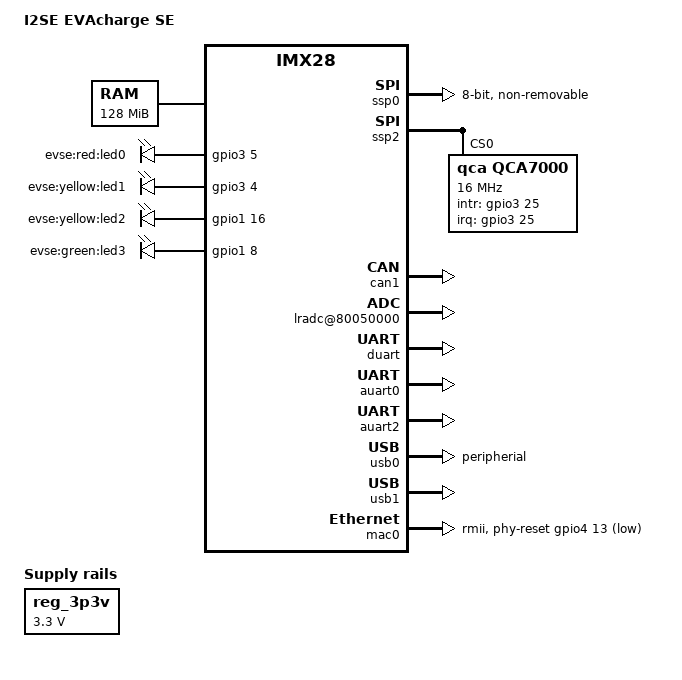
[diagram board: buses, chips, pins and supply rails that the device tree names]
/*
 * Copyright 2013 I2SE GmbH
 *
 * The code contained herein is licensed under the GNU General Public
 * License. You may obtain a copy of the GNU General Public License
 * Version 2 or later at the following locations:
 *
 * http://www.opensource.org/licenses/gpl-license.html
 * http://www.gnu.org/copyleft/gpl.html
 */

/dts-v1/;
#include "imx28.dtsi"

/ {
	model = "I2SE EVAcharge SE";
	compatible = "i2se,imx28-ievachargese", "fsl,imx28";

	aliases {
		spi1 = &ssp2;	// give QCA7000 fixed name
	};

	memory {
		reg = <0x40000000 0x08000000>;
	};

	apb@80000000 {
		apbh@80000000 {
			ssp0: ssp@80010000 {
				compatible = "fsl,imx28-mmc";
				pinctrl-names = "default";
				pinctrl-0 = <&mmc0_8bit_pins_a
					&mmc0_cd_cfg &mmc0_sck_cfg>;
				bus-width = <8>;
				status = "okay";
				non-removable;
			};

			ssp2: ssp@80014000 {
				#address-cells = <1>;
				#size-cells = <0>;
				compatible = "fsl,imx28-spi";
				pinctrl-names = "default";
				pinctrl-0 = <&spi2_pins_a>;
				status = "okay";
				
				qca7000: qca7000@0 {	
					compatible = "qca,qca7000";
  					interrupt-parent = <&gpio3>;
					interrupts = <25 0x1>;
					spi-cpha;
					spi-cpol;
					spi-max-frequency = <16000000>;
					intr-gpios = <&gpio3 25 0>;
  					reg = <0x0>;
   				}; 

			};

			pinctrl@80018000 {
				pinctrl-names = "default";
				pinctrl-0 = <&hog_pins_a>;

				hog_pins_a: hog@0 {
					reg = <0>;
					fsl,pinmux-ids = <
						/* unused ssp3 to shift register */
						0x2183 /* MX28_PAD_SSP3_SCK__GPIO_2_24  */
						0x2193 /* MX28_PAD_SSP3_MOSI__GPIO_2_25 */
						0x21a3 /* MX28_PAD_SSP3_MISO__GPIO_2_26 */
						0x21b3 /* MX28_PAD_SSP3_SS0__GPIO_2_27 */
						/* unused external header pins */
						0x30b3 /* MX28_PAD_AUART2_RTS__GPIO_3_11 */
						0x30a3 /* MX28_PAD_AUART2_CTS__GPIO_3_10 */
						0x30c3 /* MX28_PAD_AUART3_RX__GPIO_3_12 */
						0x30d3 /* MX28_PAD_AUART3_TX__GPIO_3_13 */
						0x20c3 /* MX28_PAD_SSP1_SCK__GPIO_2_12 */
						0x20d3 /* MX28_PAD_SSP1_CMD__GPIO_2_13 */
						0x20e3 /* MX28_PAD_SSP1_DATA0__GPIO_2_14 */
						0x20f3 /* MX28_PAD_SSP1_DATA3__GPIO_2_15 */
						/* pullup */
						0x2143 /* MX28_PAD_SSP2_SS1__GPIO_2_20, EMMC_RESET */
					>;
					fsl,drive-strength = <0>;
					fsl,voltage = <1>;
					fsl,pull-up = <0>;
				};

				qca7k: qca7k@0 {
					reg = <0>;
					fsl,pinmux-ids = <
						0x3193 /* MX28_PAD_I2C0_SDA__GPIO_3_25, SPI_INT */
						0x10d3 /* MX28_PAD_LCD_D13__GPIO_1_13, QCA7K_RESET */
						0x10e3 /* MX28_PAD_LCD_D14__GPIO_1_14, GPIO_0 */
						0x10f3 /* MX28_PAD_LCD_D15__GPIO_1_15, GPIO_1 */
						0x1123 /* MX28_PAD_LCD_D18__GPIO_1_18, GPIO_2 */
						0x1153 /* MX28_PAD_LCD_D21__GPIO_1_21, GPIO_3 */
					>;
					fsl,drive-strength = <0>;
					fsl,voltage = <1>;
					fsl,pull-up = <0>;
				};

				motor: motor@0 {
					reg = <0>;
					fsl,pinmux-ids = <
						0x3153 /* MX28_PAD_SAIF0_LRCLK__GPIO_3_21, MOTOR1_PHASE */
						0x3163 /* MX28_PAD_SAIF0_BITCLK__GPIO_3_22, MOTOR1_ENABLE */
						0x3173 /* MX28_PAD_SAIF0_SDATA0__GPIO_3_23, MOTOR2_PHASE */
						0x31a3 /* MX28_PAD_SAIF1_SDATA0__GPIO_3_26, MOTOR2_ENABLE */
						0x31b3 /* MX28_PAD_SPDIF__GPIO_3_27, MOTOR_FAULT */
					>;
					fsl,drive-strength = <0>;
					fsl,voltage = <1>;
					fsl,pull-up = <0>;
				};

				daugther: daugther@0 {
					reg = <0>;
					fsl,pinmux-ids = <
						0x1073 /* MX28_PAD_LCD_D07__GPIO_1_7, DAUGHTER_GPIO_0 */
						0x10a3 /* MX28_PAD_LCD_D10__GPIO_1_10, DAUGHTER_GPIO_1 */
						0x1193 /* MX28_PAD_LCD_WR_RWN__GPIO_1_25, DAUGHTER_GPIO_2 */
						0x11c3 /* MX28_PAD_LCD_VSYNC__GPIO_1_28, DAUGHTER_GPIO_3 */
						0x11d3 /* MX28_PAD_LCD_HSYNC__GPIO_1_29, DAUGHTER_GPIO_4 */
						0x11e3 /* MX28_PAD_LCD_DOTCLK__GPIO_1_30, DAUGHTER_GPIO_5 */
					>;
					fsl,drive-strength = <0>;
					fsl,voltage = <1>;
					fsl,pull-up = <0>;
				};

				control_pilot: control_pilot@0 {
					reg = <0>;
					fsl,pinmux-ids = <
						0x3063 /* MX28_PAD_AUART1_CTS__GPIO_3_6, CP_EDGE */
						0x3073 /* MX28_PAD_AUART1_RTS__GPIO_3_7, CP_EDGE */
						0x3123 /* MX28_PAD_PWM2__GPIO_3_18, CP_HIGH */
						0x31c3 /* MX28_PAD_PWM3__GPIO_3_28, CP_LOW */
					>;
					fsl,drive-strength = <0>;
					fsl,voltage = <1>;
					fsl,pull-up = <0>;
				};

				proximity_pilot: proximity_pilot@0 {
					reg = <0>;
					fsl,pinmux-ids = <
						0x10c3 /* MX28_PAD_LCD_D12__GPIO_1_12, PP_PULLUP */
					>;
					fsl,drive-strength = <0>;
					fsl,voltage = <1>;
					fsl,pull-up = <0>;
				};

				led_pins: led_pins@0 {
					reg = <0>;
					fsl,pinmux-ids = <
						0x1103 /* MX28_PAD_LCD_D16__GPIO_1_16, LED_2 */
						0x1083 /* MX28_PAD_LCD_D08__GPIO_1_8, LED_3 */					
						0x3043 /* MX28_PAD_AUART1_RX__GPIO_3_4, LED_1 */
						0x3053 /* MX28_PAD_AUART1_TX__GPIO_3_5, LED_0 */
					>;
					fsl,drive-strength = <0>;
					fsl,voltage = <1>;
					fsl,pull-up = <0>;
				};
			};

			can1: can@80034000 {
				pinctrl-names = "default";
				pinctrl-0 = <&can1_pins_b>;
				status = "okay";
			};
		};

		apbx@80040000 {
			lradc@80050000 {
				status = "okay";
			};

			duart: serial@80074000 {
				pinctrl-names = "default";
				pinctrl-0 = <&duart_pins_a>;
				status = "okay";
			};

			auart0: serial@8006a000 {
				pinctrl-names = "default";
				pinctrl-0 = <&auart0_2pins_a>;
				status = "okay";
			};

			auart2: serial@8006e000 {
				pinctrl-names = "default";
				pinctrl-0 = <&auart2_2pins_b>;
				status = "okay";
			};

			usbphy0: usbphy@8007c000 {
				status = "okay";
			};

			usbphy1: usbphy@8007e000 {
				status = "okay";
			};
		};
	};

	ahb@80080000 {
		usb0: usb@80080000 {
			status = "okay";
			dr_mode = "peripherial";
		};

		usb1: usb@80090000 {
			status = "okay";
		};

		mac0: ethernet@800f0000 {
			phy-mode = "rmii";
			pinctrl-names = "default";
			pinctrl-0 = <&mac0_pins_a>;
			phy-reset-gpios = <&gpio4 13 0>; /* MX28_PAD_ENET0_RX_CLK__GPIO_4_13 */
			phy-reset-duration = <100>;
			status = "okay";
		};
	};

	regulators {
		compatible = "simple-bus";

		reg_3p3v: 3p3v {
			compatible = "regulator-fixed";
			regulator-name = "3P3V";
			regulator-min-microvolt = <3300000>;
			regulator-max-microvolt = <3300000>;
			regulator-always-on;
		};
	};

	leds {
		compatible = "gpio-leds";
		pinctrl-names = "default";
		pinctrl-0 = <&led_pins>;

		led0 {			// Heartbeat
			label = "evse:red:led0";
			gpios = <&gpio3 5 0>;
			linux,default-trigger = "heartbeat";
		};

		led1 {			// unassigned
			label = "evse:yellow:led1";
			gpios = <&gpio3 4 0>;
			linux,default-trigger = "none";
		};

		led2 {			// CAN traffic
			label = "evse:yellow:led2";
			gpios = <&gpio1 16 0>;
			linux,default-trigger = "can1-rx";
		};
		
		led3 {			// Boot process
			label = "evse:green:led3";
			gpios = <&gpio1 8 0>;
			linux,default-trigger = "timer";
		};

	};
};
